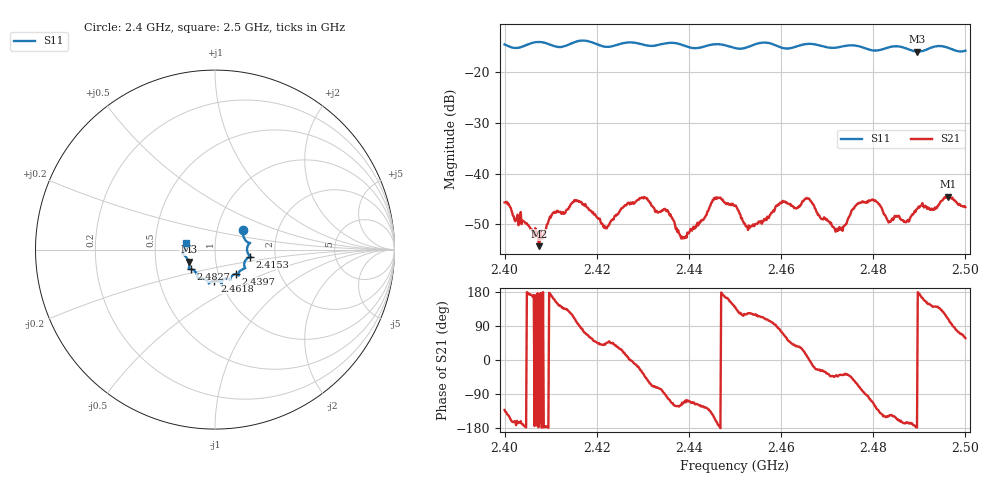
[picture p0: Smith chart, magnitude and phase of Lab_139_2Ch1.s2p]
# Hz S RI R 50
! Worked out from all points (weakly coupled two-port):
!   601 points, 2.4 GHz to 2.5 GHz, reference 50 ohm
!   highest |S21| = -44.59 dB at 2.4963 GHz (marker M1); lowest = -54.4 dB at 2.4075 GHz (marker M2)
!   lowest |S11| = -15.9 dB at 2.4895 GHz (marker M3), VSWR 1.38, Z = 37 - j5.03 ohm
!   |S11| at or under -10 dB: start of sweep to end of sweep
!   S12 and S22 are empty: the file has one direction only
!   S11 on the Smith chart (normalised r, x): 2.4 GHz: 1.33, +0.30; 2.4153 GHz: 1.48, -0.12; 2.4397 GHz: 1.21, -0.34; 2.4618 GHz: 0.94, -0.33; 2.4827 GHz: 0.75, -0.17; 2.5 GHz: 0.72, +0.06
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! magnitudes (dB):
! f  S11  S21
! 2.4 GHz  -14.5  -45.7
! 2.4075 GHz  -14.0  -54.4
! 2.4103 GHz  -14.7  -48.0
! 2.4153 GHz  -14.0  -45.3
! 2.4167 GHz  -13.7  -45.6
! 2.422 GHz  -14.9  -50.6
! 2.4298 GHz  -14.4  -44.7
! 2.4333 GHz  -14.6  -47.7
! 2.4397 GHz  -14.9  -51.7
! 2.4457 GHz  -14.4  -45.0
! 2.45 GHz  -15.2  -46.4
! 2.453 GHz  -14.9  -50.3
! 2.4618 GHz  -15.2  -46.0
! 2.4667 GHz  -14.4  -45.7
! 2.472 GHz  -15.1  -51.3
! 2.4773 GHz  -14.9  -45.7
! 2.4805 GHz  -15.7  -45.4
! 2.4827 GHz  -15.2  -48.4
! 2.4833 GHz  -15.0  -49.7
! 2.4895 GHz  -15.9  -47.0
! 2.4963 GHz  -15.1  -44.6
! 2.5 GHz  -15.7  -46.6
